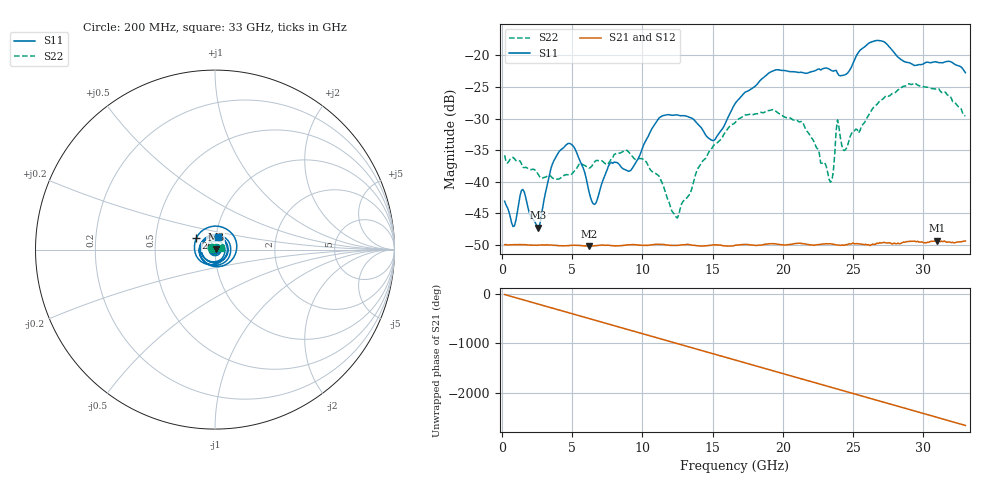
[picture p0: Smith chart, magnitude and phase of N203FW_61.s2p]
# GHZ S RI R 50
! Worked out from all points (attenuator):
!   329 points, 200 MHz to 33 GHz, reference 50 ohm
!   highest |S21| = -49.31 dB at 31 GHz (marker M1); lowest = -50.2 dB at 6.2 GHz (marker M2)
!   lowest |S11| = -47.2 dB at 2.6 GHz (marker M3), VSWR 1.01, Z = 50.4 + j0.12 ohm
!   |S11| at or under -10 dB: start of sweep to end of sweep
!   |S22| runs from -45.7 to -24.4 dB; largest |S21 - S12| = 8.8e-05
!   S11 on the Smith chart (normalised r, x): 200 MHz: 1.01, +0.01; 26 GHz: 0.81, +0.10; 33 GHz: 1.03, +0.15
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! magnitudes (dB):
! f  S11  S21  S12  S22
! 200 MHz  -43.1  -50.0  -49.9  -35.8
! 900 MHz  -47.0  -49.9  -49.9  -36.3
! 1.5 GHz  -41.2  -49.9  -49.9  -37.7
! 2.6 GHz  -47.2  -50.0  -50.0  -38.9
! 4.1 GHz  -35.2  -50.1  -50.1  -39.5
! 5.7 GHz  -37.3  -50.1  -50.1  -37.2
! 6.2 GHz  -41.5  -50.2  -50.2  -37.8
! 7.8 GHz  -36.9  -50.1  -50.1  -36.3
! 9.2 GHz  -38.1  -49.9  -49.9  -35.7
! 11.2 GHz  -29.9  -49.9  -49.9  -39.1
! 12.5 GHz  -29.4  -50.1  -50.1  -45.7
! 15.1 GHz  -33.5  -50.0  -50.0  -34.2
! 16.6 GHz  -27.6  -50.0  -50.1  -30.6
! 19.3 GHz  -22.4  -49.8  -49.8  -28.6
! 22.1 GHz  -22.5  -50.0  -50.0  -33.2
! 23.4 GHz  -22.3  -49.8  -49.8  -40.1
! 23.9 GHz  -22.8  -50.0  -50.0  -30.2
! 24.4 GHz  -23.1  -50.0  -49.9  -35.0
! 26 GHz  -18.3  -50.0  -49.9  -29.9
! 27.6 GHz  -18.7  -49.7  -49.7  -26.4
! 31 GHz  -21.1  -49.3  -49.3  -25.3
! 33 GHz  -22.7  -49.4  -49.4  -29.6
